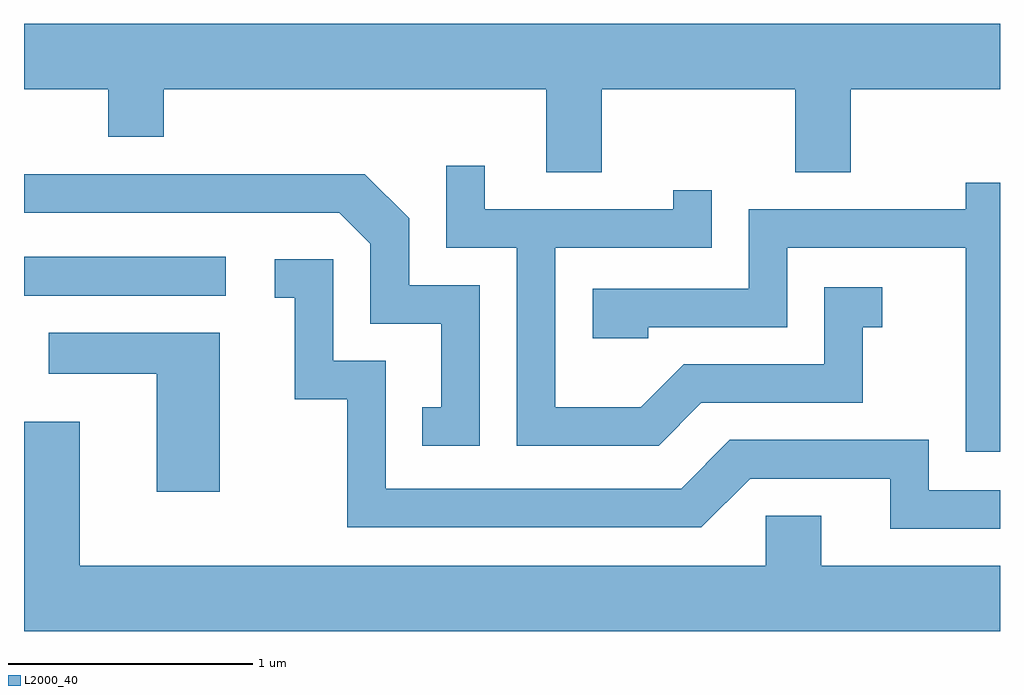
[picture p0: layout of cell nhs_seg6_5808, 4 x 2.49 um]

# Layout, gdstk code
import gdstk
lib = gdstk.Library(unit=1e-6, precision=1e-09)
def R(c, l, rs):  # rectangles x0, y0, x1, y1
    for r in rs: c.add(gdstk.rectangle(r[:2], r[2:], *l))
def P(c, l, *ps):  # polygons
    for p in ps: c.add(gdstk.Polygon(p, *l))
L2000_40 = (2000, 40)

nhs_seg6_5808 = lib.new_cell('nhs_seg6_5808')
R(nhs_seg6_5808, L2000_40, [(361.611,1602.471,362.438,1602.629)])
P(nhs_seg6_5808, L2000_40, [(363.979,1603.316),(364.771,1603.316),(364.771,1602.976),(364.999,1602.976),(364.999,1603.316),(365.611,1603.316),(365.611,1603.584),(361.611,1603.584),(361.611,1603.316),(361.956,1603.316),(361.956,1603.121),(362.184,1603.121),(362.184,1603.316),(363.751,1603.316),(363.751,1602.976),(363.979,1602.976)],
  [(364.387,1602.031),(365.049,1602.031),(365.049,1602.341),(365.128,1602.341),(365.128,1602.504),(364.891,1602.504),(364.891,1602.189),(364.314,1602.189),(364.139,1602.014),(363.789,1602.014),(363.789,1602.666),(364.429,1602.666),(364.429,1602.903),(364.271,1602.903),(364.271,1602.824),(363.499,1602.824),(363.499,1603.003),(363.341,1603.003),(363.341,1602.666),(363.631,1602.666),(363.631,1601.856),(364.212,1601.856)],
  [(363.479,1602.514),(363.189,1602.514),(363.189,1602.787),(363.007,1602.969),(361.611,1602.969),(361.611,1602.811),(362.904,1602.811),(363.031,1602.684),(363.031,1602.356),(363.321,1602.356),(363.321,1602.014),(363.243,1602.014),(363.243,1601.856),(363.479,1601.856)],
  [(365.611,1602.934),(365.471,1602.934),(365.471,1602.824),(364.581,1602.824),(364.581,1602.499),(363.941,1602.499),(363.941,1602.296),(364.169,1602.296),(364.169,1602.341),(364.739,1602.341),(364.739,1602.666),(365.471,1602.666),(365.471,1601.831),(365.611,1601.831)],
  [(365.611,1601.674),(365.319,1601.674),(365.319,1601.879),(364.504,1601.879),(364.304,1601.679),(363.094,1601.679),(363.094,1602.204),(362.879,1602.204),(362.879,1602.619),(362.638,1602.619),(362.638,1602.461),(362.721,1602.461),(362.721,1602.046),(362.936,1602.046),(362.936,1601.521),(364.387,1601.521),(364.587,1601.721),(365.161,1601.721),(365.161,1601.516),(365.611,1601.516)],
  [(362.414,1602.319),(361.713,1602.319),(361.713,1602.151),(362.156,1602.151),(362.156,1601.666),(362.414,1601.666)],
  [(365.611,1601.364),(364.879,1601.364),(364.879,1601.569),(364.651,1601.569),(364.651,1601.364),(361.839,1601.364),(361.839,1601.954),(361.611,1601.954),(361.611,1601.096),(365.611,1601.096)])

lib.write_gds('nhs_seg6_5808.gds')
